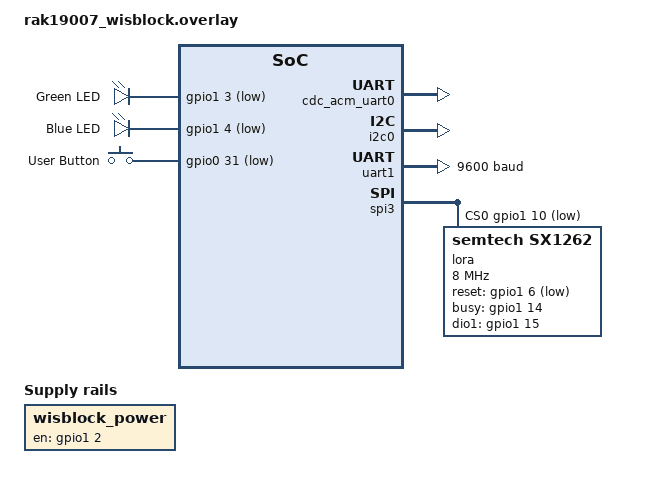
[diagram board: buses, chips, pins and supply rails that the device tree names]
/*
 * RAK19007 WisBlock Base Board (2nd Gen) + RAK4631 Core
 * Device tree overlay for LICHEN bridge
 *
 * RAK4631 Core: nRF52840 + SX1262
 * RAK19007 Base: 4 sensor slots (A-D), IO slot, USB-C
 *
 * SX1262 SPI pins (fixed on RAK4631 core):
 *   SCK  = P1.11
 *   MISO = P1.13
 *   MOSI = P1.12
 *   NSS  = P1.10
 *
 * SX1262 control pins:
 *   RESET = P1.06
 *   BUSY  = P1.14
 *   DIO1  = P1.15
 *   DIO2  = RF switch (internal)
 *   TCXO  = P1.07
 *
 * WisBlock slot GPIO mapping (accent nRF52840 pins):
 *   IO1 = P0.17 (Slot A pin 12, Slot B pin 10)
 *   IO2 = P1.02 (Slot A pin 10, Slot B pin 12) - controls 3V3_S power
 *   IO3 = P0.21 (Slot C pin 12)
 *   IO4 = P0.04 (Slot C pin 10)
 *   IO5 = P0.09 (Slot D pin 12)
 *   IO6 = P0.10 (Slot D pin 10)
 *
 * UART1 (Slot A & D):
 *   TX1 = P0.16
 *   RX1 = P0.15
 *
 * I2C1 (all slots):
 *   SCL = P0.14
 *   SDA = P0.13
 *
 * User button: AIN1 = P0.31 (directly accessible on base board)
 */

#include <zephyr/dt-bindings/lora/sx126x.h>

/ {
	chosen {
		zephyr,console = &cdc_acm_uart0;
		zephyr,shell-uart = &cdc_acm_uart0;
	};

	aliases {
		led0 = &green_led;
		led1 = &blue_led;
		lora0 = &lora;
		sw0 = &user_button;
	};

	leds {
		compatible = "gpio-leds";
		green_led: led_0 {
			gpios = <&gpio1 3 GPIO_ACTIVE_LOW>;  /* P1.03 */
			label = "Green LED";
		};
		blue_led: led_1 {
			gpios = <&gpio1 4 GPIO_ACTIVE_LOW>;  /* P1.04 */
			label = "Blue LED";
		};
	};

	buttons {
		compatible = "gpio-keys";
		user_button: button_0 {
			gpios = <&gpio0 31 (GPIO_PULL_UP | GPIO_ACTIVE_LOW)>;  /* AIN1 */
			label = "User Button";
		};
	};

	/* 3V3_S switchable power rail for sensor slots */
	wisblock_power: wisblock-power {
		compatible = "regulator-fixed";
		regulator-name = "3V3_S";
		enable-gpios = <&gpio1 2 GPIO_ACTIVE_HIGH>;  /* IO2 = P1.02 */
		regulator-boot-on;
	};
};

&zephyr_udc0 {
	cdc_acm_uart0: cdc_acm_uart0 {
		compatible = "zephyr,cdc-acm-uart";
	};
};

/* I2C1 for WisBlock sensor slots */
&i2c0 {
	status = "okay";
	/* SCL = P0.14, SDA = P0.13 (default pinmux) */
};

/* UART1 for Slot A/D modules (e.g., GPS) */
&uart1 {
	status = "okay";
	current-speed = <9600>;
	/* TX = P0.16, RX = P0.15 */
};

/* SX1262 on SPI3 */
&spi3 {
	status = "okay";
	cs-gpios = <&gpio1 10 GPIO_ACTIVE_LOW>;  /* P1.10 = NSS */

	lora: sx1262@0 {
		compatible = "semtech,sx1262";
		reg = <0>;
		spi-max-frequency = <8000000>;
		reset-gpios = <&gpio1 6 GPIO_ACTIVE_LOW>;   /* P1.06 = RST */
		busy-gpios = <&gpio1 14 GPIO_ACTIVE_HIGH>;  /* P1.14 = BUSY */
		dio1-gpios = <&gpio1 15 GPIO_ACTIVE_HIGH>;  /* P1.15 = DIO1 */
		/* DIO2 controls RF switch internally */
		dio2-tx-enable;
		/* 1.8V TCXO controlled by DIO3 */
		dio3-tcxo-voltage = <SX126X_DIO3_TCXO_1V8>;
		tcxo-power-startup-delay-ms = <5>;
	};
};
